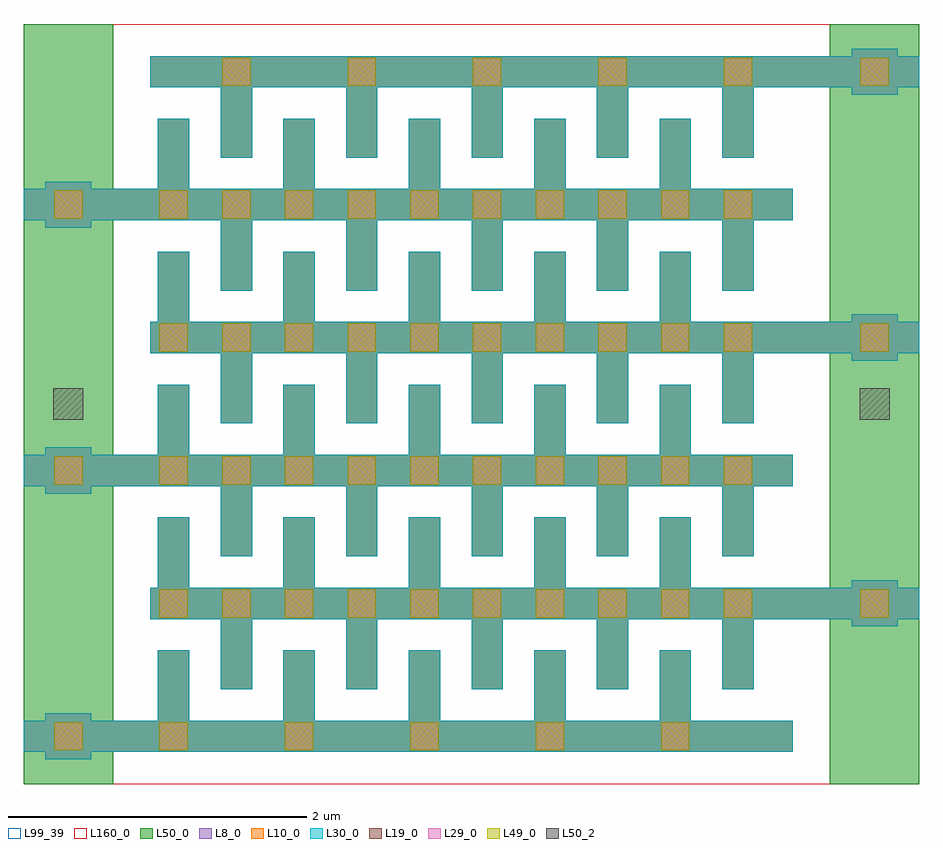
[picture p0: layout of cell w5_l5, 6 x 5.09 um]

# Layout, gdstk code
import gdstk
lib = gdstk.Library(unit=1e-6, precision=1e-09)
def R(c, l, rs):  # rectangles x0, y0, x1, y1
    for r in rs: c.add(gdstk.rectangle(r[:2], r[2:], *l))
def A(c, l, x, y, w, h, nx, ny, dx, dy):  # array of equal rectangles
    R(c, l, [(x+i*dx, y+j*dy, x+i*dx+w, y+j*dy+h) for i in range(nx) for j in range(ny)])
L8_0 = (8, 0)
L10_0 = (10, 0)
L19_0 = (19, 0)
L29_0 = (29, 0)
L30_0 = (30, 0)
L49_0 = (49, 0)
L50_0 = (50, 0)
L50_2 = (50, 2)
L99_39 = (99, 39)
L160_0 = (160, 0)

w5_l5 = lib.new_cell('w5_l5')
A(w5_l5, L8_0, -0.755, -0.155, 0.31, 0.31, 1, 3, 0, 1.78)
A(w5_l5, L8_0, -0.9, -0.105, 5.15, 0.21, 1, 3, 0, 1.78)
A(w5_l5, L8_0, 0, 0, 0.21, 0.575, 5, 5, 0.84, 0.89)
A(w5_l5, L8_0, 0.42, 0.315, 0.21, 0.575, 5, 5, 0.84, 0.89)
A(w5_l5, L8_0, 4.645, 0.735, 0.31, 0.31, 1, 3, 0, 1.78)
A(w5_l5, L8_0, -0.05, 0.785, 5.15, 0.21, 1, 3, 0, 1.78)
A(w5_l5, L10_0, -0.755, -0.155, 0.31, 0.31, 1, 3, 0, 1.78)
A(w5_l5, L10_0, -0.9, -0.105, 5.15, 0.21, 1, 3, 0, 1.78)
A(w5_l5, L10_0, 0, 0, 0.21, 0.575, 5, 5, 0.84, 0.89)
A(w5_l5, L10_0, 0.42, 0.315, 0.21, 0.575, 5, 5, 0.84, 0.89)
A(w5_l5, L10_0, 4.645, 0.735, 0.31, 0.31, 1, 3, 0, 1.78)
A(w5_l5, L10_0, -0.05, 0.785, 5.15, 0.21, 1, 3, 0, 1.78)
A(w5_l5, L19_0, -0.695, -0.095, 0.19, 0.19, 1, 3, 0, 1.78)
A(w5_l5, L19_0, 0.01, -0.095, 0.19, 0.19, 5, 1, 0.84, 0)
A(w5_l5, L19_0, 0.01, 0.795, 0.19, 0.19, 10, 4, 0.42, 0.89)
A(w5_l5, L19_0, 4.705, 0.795, 0.19, 0.19, 1, 3, 0, 1.78)
A(w5_l5, L19_0, 0.43, 4.355, 0.19, 0.19, 5, 1, 0.84, 0)
A(w5_l5, L29_0, -0.695, -0.095, 0.19, 0.19, 1, 3, 0, 1.78)
A(w5_l5, L29_0, 0.01, -0.095, 0.19, 0.19, 5, 1, 0.84, 0)
A(w5_l5, L29_0, 0.01, 0.795, 0.19, 0.19, 10, 4, 0.42, 0.89)
A(w5_l5, L29_0, 4.705, 0.795, 0.19, 0.19, 1, 3, 0, 1.78)
A(w5_l5, L29_0, 0.43, 4.355, 0.19, 0.19, 5, 1, 0.84, 0)
A(w5_l5, L30_0, -0.755, -0.155, 0.31, 0.31, 1, 3, 0, 1.78)
A(w5_l5, L30_0, -0.9, -0.105, 5.15, 0.21, 1, 3, 0, 1.78)
A(w5_l5, L30_0, 0, 0, 0.21, 0.575, 5, 5, 0.84, 0.89)
A(w5_l5, L30_0, 0.42, 0.315, 0.21, 0.575, 5, 5, 0.84, 0.89)
A(w5_l5, L30_0, 4.645, 0.735, 0.31, 0.31, 1, 3, 0, 1.78)
A(w5_l5, L30_0, -0.05, 0.785, 5.15, 0.21, 1, 3, 0, 1.78)
A(w5_l5, L49_0, -0.695, -0.095, 0.19, 0.19, 1, 3, 0, 1.78)
A(w5_l5, L49_0, 0.01, -0.095, 0.19, 0.19, 5, 1, 0.84, 0)
A(w5_l5, L49_0, 0.01, 0.795, 0.19, 0.19, 10, 4, 0.42, 0.89)
A(w5_l5, L49_0, 4.705, 0.795, 0.19, 0.19, 1, 3, 0, 1.78)
A(w5_l5, L49_0, 0.43, 4.355, 0.19, 0.19, 5, 1, 0.84, 0)
A(w5_l5, L50_0, -0.9, -0.105, 5.15, 0.21, 1, 3, 0, 1.78)
A(w5_l5, L50_0, 0, 0, 0.21, 0.575, 5, 5, 0.84, 0.89)
A(w5_l5, L50_0, 0.42, 0.315, 0.21, 0.575, 5, 5, 0.84, 0.89)
A(w5_l5, L50_0, -0.05, 0.785, 5.15, 0.21, 1, 3, 0, 1.78)
R(w5_l5, L50_0, [(-0.9,-0.32,-0.3,4.77), (4.5,-0.32,5.1,4.77)])
R(w5_l5, L50_2, [(-0.7,2.12,-0.5,2.33), (4.7,2.12,4.9,2.33)])
R(w5_l5, L99_39, [(-0.9,-0.32,5.1,4.77)])
R(w5_l5, L160_0, [(-0.9,-0.32,5.1,4.77)])
w5_l5.add(gdstk.Label('cap_cmomi C=16.298fF', (-0.9,-0.82), layer=63, texttype=0))

lib.write_gds('w5_l5.gds')
